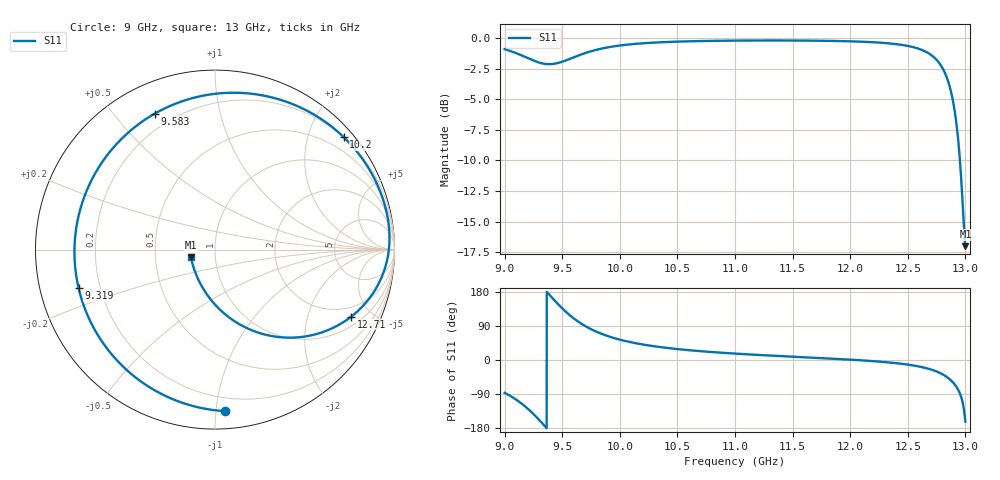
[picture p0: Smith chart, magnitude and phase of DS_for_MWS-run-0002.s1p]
! TOUCHSTONE file generated by CST DESIGN STUDIO
! Date and time: Tue Feb  4 16:08:36 2025
! Project name: C:\Work\MatlabApps\UnitCellOptimizationMatlab\CST\unitcell.cst
! Tree item: Tasks\Sweep1\SPara1\S-Parameters
! Header version: 2024
! Port assignment regex: !\s*Touchstone port\s*([0-9]+)\s*=\s*(CST MWS port|CST DES external port|CST DES block port)\s*(.+)\s* \(\"(.*)\"\)(\s*mode\s*([0-9]+))?.*
! Touchstone port assignment:
! Touchstone port 1 = CST DES external port 1 ("")
# GHz S MA R 50
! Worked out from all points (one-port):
!   4001 points, 9 GHz to 13 GHz, reference 50 ohm
!   lowest |S11| = -17.0 dB at 13 GHz (marker M1), VSWR 1.33, Z = 38 - j3.3 ohm
!   |S11| at or under -10 dB: 12.95267 GHz to end of sweep
!   S11 on the Smith chart (normalised r, x): 9 GHz: 0.11, -1.05; 9.319 GHz: 0.12, -0.14; 9.583 GHz: 0.13, +0.64; 10.2 GHz: 0.20, +2.65; 12.71 GHz: 1.44, -3.78; 13 GHz: 0.76, -0.07
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9  0.9014 -86.6
9.089  0.8722 -102.3
9.167  0.842 -119.8
9.24  0.8133 -139.5
9.319  0.7897 -164.3
9.362  0.7834 -178.8
9.405  0.7829 166.7
9.45  0.7885 151.9
9.5  0.8007 136.4
9.583  0.8286 113.9
9.656  0.8544 97.8
9.74  0.8808 82.9
9.863  0.9105 66.6
10  0.9328 53.7
10.196  0.9523 41.1
10.5  0.9676 28.8
11  0.977 16.9
11.5  0.9779 8.8
12  0.9704 1.0
12.286  0.9563 -5.1
12.5  0.9292 -12.2
12.621  0.8953 -18.7
12.713  0.8459 -26.2
12.809  0.7424 -39.0
12.891  0.5573 -58.7
12.94  0.3729 -80.0
12.974  0.2194 -109.1
13  0.141 -162.5
